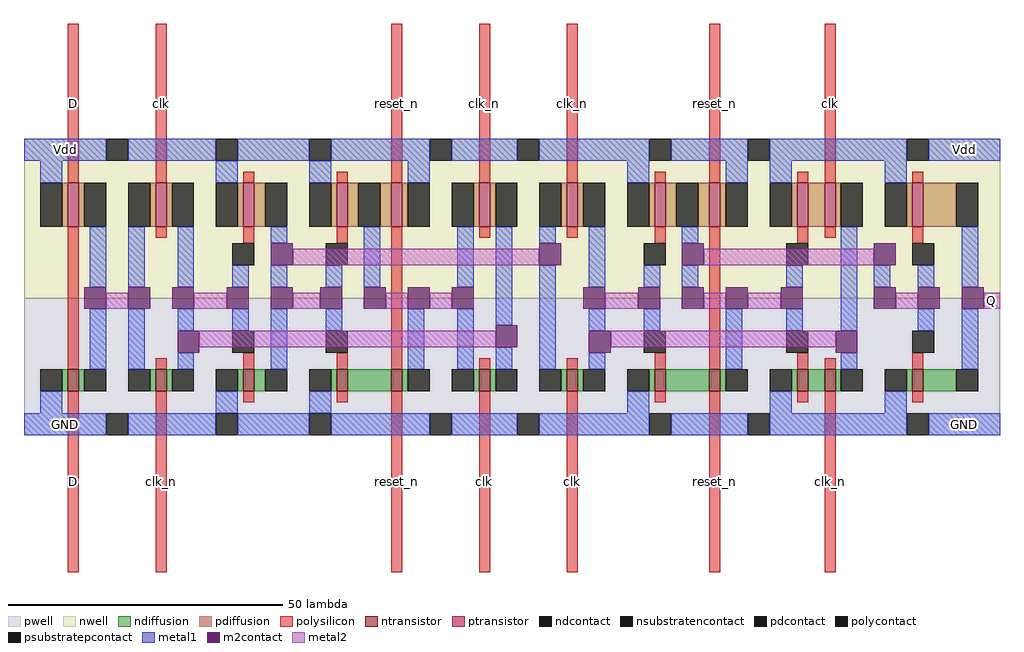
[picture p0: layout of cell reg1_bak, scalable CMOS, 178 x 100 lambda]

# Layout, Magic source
magic
tech scmos
<< pwell >>
rect -14 -69 164 -44
<< nwell >>
rect -14 -44 164 -15
<< polysilicon >>
rect -6 -23 -4 6
rect 10 -23 12 6
rect 26 -23 28 -21
rect 43 -23 45 -21
rect 53 -23 55 6
rect 69 -23 71 6
rect 85 -23 87 6
rect 101 -23 103 -21
rect 111 -23 113 6
rect 127 -23 129 -21
rect 132 -23 134 6
rect 148 -23 150 -21
rect -6 -57 -4 -31
rect 10 -33 12 -31
rect 26 -34 28 -31
rect 43 -34 45 -31
rect 10 -57 12 -55
rect 26 -57 28 -54
rect 43 -57 45 -54
rect 53 -57 55 -31
rect 69 -33 71 -31
rect 85 -33 87 -31
rect 101 -34 103 -31
rect 69 -57 71 -55
rect 85 -57 87 -55
rect 101 -57 103 -54
rect 111 -57 113 -31
rect 127 -34 129 -31
rect 132 -33 134 -31
rect 148 -34 150 -31
rect 127 -57 129 -54
rect 132 -57 134 -55
rect 148 -57 150 -54
rect -6 -94 -4 -61
rect 10 -94 12 -61
rect 26 -63 28 -61
rect 43 -63 45 -61
rect 53 -94 55 -61
rect 69 -94 71 -61
rect 85 -94 87 -61
rect 101 -63 103 -61
rect 111 -94 113 -61
rect 127 -63 129 -61
rect 132 -94 134 -61
rect 148 -63 150 -61
<< ndiffusion >>
rect -7 -61 -6 -57
rect -4 -61 -3 -57
rect 9 -61 10 -57
rect 12 -61 13 -57
rect 25 -61 26 -57
rect 28 -61 30 -57
rect 42 -61 43 -57
rect 45 -61 53 -57
rect 55 -61 56 -57
rect 68 -61 69 -57
rect 71 -61 72 -57
rect 84 -61 85 -57
rect 87 -61 88 -57
rect 100 -61 101 -57
rect 103 -61 111 -57
rect 113 -61 114 -57
rect 126 -61 127 -57
rect 129 -61 132 -57
rect 134 -61 135 -57
rect 147 -61 148 -57
rect 150 -61 156 -57
<< pdiffusion >>
rect -7 -31 -6 -23
rect -4 -31 -3 -23
rect 9 -31 10 -23
rect 12 -31 13 -23
rect 25 -31 26 -23
rect 28 -31 30 -23
rect 42 -31 43 -23
rect 45 -31 47 -23
rect 51 -31 53 -23
rect 55 -31 56 -23
rect 68 -31 69 -23
rect 71 -31 72 -23
rect 84 -31 85 -23
rect 87 -31 88 -23
rect 100 -31 101 -23
rect 103 -31 105 -23
rect 109 -31 111 -23
rect 113 -31 114 -23
rect 126 -31 127 -23
rect 129 -31 132 -23
rect 134 -31 135 -23
rect 147 -31 148 -23
rect 150 -31 156 -23
<< metal1 >>
rect -14 -19 1 -15
rect 5 -19 21 -15
rect 25 -19 38 -15
rect 42 -19 60 -15
rect 64 -19 76 -15
rect 80 -19 100 -15
rect 104 -19 118 -15
rect 122 -19 147 -15
rect 151 -19 164 -15
rect -11 -23 -7 -19
rect 21 -23 25 -19
rect 38 -23 42 -19
rect 56 -23 60 -19
rect 96 -23 100 -19
rect 114 -23 118 -19
rect -2 -42 1 -31
rect -2 -57 1 -46
rect 5 -42 8 -31
rect 14 -42 17 -31
rect 31 -34 34 -31
rect 24 -42 27 -38
rect 5 -57 8 -46
rect 14 -50 17 -46
rect 24 -50 27 -46
rect 31 -42 34 -38
rect 41 -42 44 -38
rect 48 -42 51 -31
rect 65 -42 68 -31
rect 14 -57 17 -54
rect 31 -57 34 -46
rect 41 -50 44 -46
rect 56 -57 59 -46
rect 65 -57 68 -46
rect 122 -23 126 -19
rect 143 -23 147 -19
rect 72 -49 75 -31
rect 80 -34 83 -31
rect 72 -57 75 -53
rect 80 -57 83 -38
rect 89 -42 92 -31
rect 106 -34 109 -31
rect 99 -42 102 -38
rect 106 -42 109 -38
rect 125 -42 128 -38
rect 89 -50 92 -46
rect 99 -50 102 -46
rect 89 -57 92 -54
rect 114 -57 117 -46
rect 125 -50 128 -46
rect 135 -50 138 -31
rect 141 -42 144 -38
rect 149 -42 152 -38
rect 157 -42 160 -31
rect 149 -50 152 -46
rect 135 -57 138 -54
rect 157 -57 160 -46
rect -11 -65 -7 -61
rect 21 -65 25 -61
rect 38 -65 42 -61
rect 96 -65 100 -61
rect 122 -65 126 -61
rect 143 -65 147 -61
rect -14 -69 1 -65
rect 5 -69 21 -65
rect 25 -69 38 -65
rect 42 -69 60 -65
rect 64 -69 76 -65
rect 80 -69 100 -65
rect 104 -69 118 -65
rect 122 -69 147 -65
rect 151 -69 164 -65
<< metal2 >>
rect 35 -38 80 -35
rect 110 -38 141 -35
rect 1 -46 5 -43
rect 17 -46 23 -43
rect 35 -46 40 -43
rect 52 -46 56 -43
rect 60 -46 64 -43
rect 92 -46 98 -43
rect 110 -46 114 -43
rect 118 -46 124 -43
rect 145 -46 149 -43
rect 161 -46 164 -43
rect 18 -53 72 -50
rect 93 -53 134 -50
<< ntransistor >>
rect -6 -61 -4 -57
rect 10 -61 12 -57
rect 26 -61 28 -57
rect 43 -61 45 -57
rect 53 -61 55 -57
rect 69 -61 71 -57
rect 85 -61 87 -57
rect 101 -61 103 -57
rect 111 -61 113 -57
rect 127 -61 129 -57
rect 132 -61 134 -57
rect 148 -61 150 -57
<< ptransistor >>
rect -6 -31 -4 -23
rect 10 -31 12 -23
rect 26 -31 28 -23
rect 43 -31 45 -23
rect 53 -31 55 -23
rect 69 -31 71 -23
rect 85 -31 87 -23
rect 101 -31 103 -23
rect 111 -31 113 -23
rect 127 -31 129 -23
rect 132 -31 134 -23
rect 148 -31 150 -23
<< polycontact >>
rect 24 -38 28 -34
rect 41 -38 45 -34
rect 24 -54 28 -50
rect 41 -54 45 -50
rect 99 -38 103 -34
rect 99 -54 103 -50
rect 125 -38 129 -34
rect 148 -38 152 -34
rect 125 -54 129 -50
rect 148 -54 152 -50
<< ndcontact >>
rect -11 -61 -7 -57
rect -3 -61 1 -57
rect 5 -61 9 -57
rect 13 -61 17 -57
rect 21 -61 25 -57
rect 30 -61 34 -57
rect 38 -61 42 -57
rect 56 -61 60 -57
rect 64 -61 68 -57
rect 72 -61 76 -57
rect 80 -61 84 -57
rect 88 -61 92 -57
rect 96 -61 100 -57
rect 114 -61 118 -57
rect 122 -61 126 -57
rect 135 -61 139 -57
rect 143 -61 147 -57
rect 156 -61 160 -57
<< pdcontact >>
rect -11 -31 -7 -23
rect -3 -31 1 -23
rect 5 -31 9 -23
rect 13 -31 17 -23
rect 21 -31 25 -23
rect 30 -31 34 -23
rect 38 -31 42 -23
rect 47 -31 51 -23
rect 56 -31 60 -23
rect 64 -31 68 -23
rect 72 -31 76 -23
rect 80 -31 84 -23
rect 88 -31 92 -23
rect 96 -31 100 -23
rect 105 -31 109 -23
rect 114 -31 118 -23
rect 122 -31 126 -23
rect 135 -31 139 -23
rect 143 -31 147 -23
rect 156 -31 160 -23
<< m2contact >>
rect -3 -46 1 -42
rect 31 -38 35 -34
rect 5 -46 9 -42
rect 13 -46 17 -42
rect 23 -46 27 -42
rect 31 -46 35 -42
rect 40 -46 44 -42
rect 48 -46 52 -42
rect 56 -46 60 -42
rect 64 -46 68 -42
rect 14 -54 18 -50
rect 80 -38 84 -34
rect 72 -53 76 -49
rect 106 -38 110 -34
rect 88 -46 92 -42
rect 98 -46 102 -42
rect 106 -46 110 -42
rect 114 -46 118 -42
rect 124 -46 128 -42
rect 89 -54 93 -50
rect 141 -38 145 -34
rect 141 -46 145 -42
rect 149 -46 153 -42
rect 157 -46 161 -42
rect 134 -54 138 -50
<< psubstratepcontact >>
rect 1 -69 5 -65
rect 21 -69 25 -65
rect 38 -69 42 -65
rect 60 -69 64 -65
rect 76 -69 80 -65
rect 100 -69 104 -65
rect 118 -69 122 -65
rect 147 -69 151 -65
<< nsubstratencontact >>
rect 1 -19 5 -15
rect 21 -19 25 -15
rect 38 -19 42 -15
rect 60 -19 64 -15
rect 76 -19 80 -15
rect 100 -19 104 -15
rect 118 -19 122 -15
rect 147 -19 151 -15
<< labels >>
rlabel metal1 -14 -19 1 -15 1 Vdd
rlabel metal1 151 -19 164 -15 1 Vdd
rlabel metal1 151 -69 164 -65 1 GND
rlabel metal1 -14 -69 1 -65 1 GND
rlabel polysilicon -6 -23 -4 6 1 D
rlabel polysilicon 10 -23 12 6 1 clk
rlabel polysilicon 53 -23 55 6 1 reset_n
rlabel polysilicon 69 -23 71 6 1 clk_n
rlabel polysilicon 85 -23 87 6 1 clk_n
rlabel polysilicon 111 -23 113 6 1 reset_n
rlabel polysilicon 132 -23 134 6 1 clk
rlabel polysilicon 132 -94 134 -61 5 clk_n
rlabel polysilicon 111 -94 113 -61 5 reset_n
rlabel polysilicon 85 -94 87 -61 5 clk
rlabel polysilicon 69 -94 71 -61 5 clk
rlabel polysilicon 53 -94 55 -61 5 reset_n
rlabel polysilicon 10 -94 12 -61 5 clk_n
rlabel polysilicon -6 -94 -4 -61 5 D
rlabel metal2 161 -46 164 -43 3 Q
<< end >>
